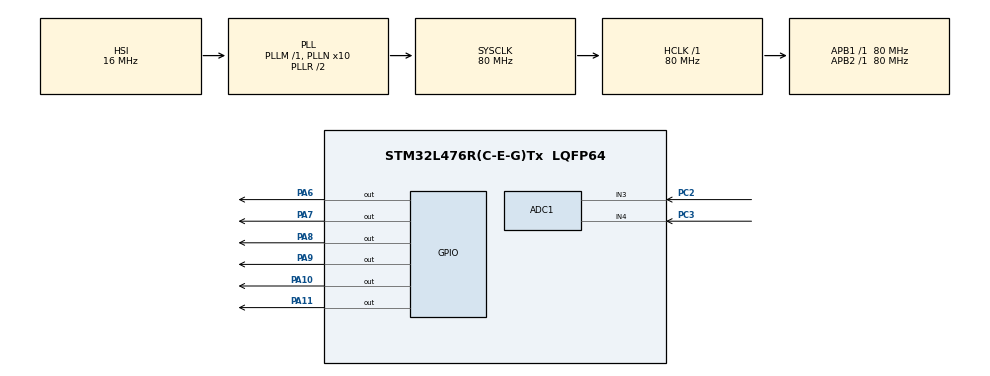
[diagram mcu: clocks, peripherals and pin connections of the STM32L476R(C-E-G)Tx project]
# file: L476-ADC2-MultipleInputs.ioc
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ADC1.Channel-0\#ChannelRegularConversion=ADC_CHANNEL_3
ADC1.Channel-1\#ChannelRegularConversion=ADC_CHANNEL_4
ADC1.ContinuousConvMode=ENABLE
ADC1.EOCSelection=ADC_EOC_SEQ_CONV
ADC1.NbrOfConversion=2
ADC1.NbrOfConversionFlag=1
ADC1.OffsetNumber-0\#ChannelRegularConversion=ADC_OFFSET_NONE
ADC1.OffsetNumber-1\#ChannelRegularConversion=ADC_OFFSET_NONE
ADC1.Overrun=ADC_OVR_DATA_OVERWRITTEN
ADC1.Rank-0\#ChannelRegularConversion=1
ADC1.Rank-1\#ChannelRegularConversion=2
ADC1.SamplingTime-0\#ChannelRegularConversion=ADC_SAMPLETIME_12CYCLES_5
ADC1.SamplingTime-1\#ChannelRegularConversion=ADC_SAMPLETIME_12CYCLES_5
ADC1.master=1
Mcu.Family=STM32L4
Mcu.Name=STM32L476R(C-E-G)Tx
Mcu.Package=LQFP64
NVIC.PriorityGroup=NVIC_PRIORITYGROUP_4
PA10.Signal=GPIO_Output
PA11.Signal=GPIO_Output
PA14\ (JTCK-SWCLK).GPIO_Label=TCK
PA14\ (JTCK-SWCLK).Signal=SYS_JTCK-SWCLK
PA6.Signal=GPIO_Output
PA7.Signal=GPIO_Output
PA8.Signal=GPIO_Output
PA9.Signal=GPIO_Output
PB3\ (JTDO-TRACESWO).GPIO_Label=SWO
PB3\ (JTDO-TRACESWO).Signal=SYS_JTDO-SWO
PC2.Signal=ADCx_IN3
PC3.Signal=ADCx_IN4
ProjectManager.HeapSize=0x200
ProjectManager.StackSize=0x400
ProjectManager.TargetToolchain=STM32CubeIDE
RCC.ADCFreq_Value=32000000
RCC.AHBFreq_Value=80000000
RCC.APB1Freq_Value=80000000
RCC.APB1TimFreq_Value=80000000
RCC.APB2Freq_Value=80000000
RCC.APB2TimFreq_Value=80000000
RCC.CortexFreq_Value=80000000
RCC.HCLKFreq_Value=80000000
RCC.HSE_VALUE=8000000
RCC.HSI_VALUE=16000000
RCC.LSE_VALUE=32768
RCC.MSI_VALUE=4000000
RCC.PLLN=10
RCC.PLLSAI1R=RCC_PLLR_DIV4
RCC.PLLSourceVirtual=RCC_PLLSOURCE_HSI
RCC.PREFETCH_ENABLE=1
RCC.SYSCLKFreq_VALUE=80000000
RCC.SYSCLKSource=RCC_SYSCLKSOURCE_PLLCLK
RCC.USBFreq_Value=64000000
RCC.VCOOutputFreq_Value=160000000
SH.ADCx_IN3.0=ADC1_IN3,IN3-Single-Ended
SH.ADCx_IN4.0=ADC1_IN4,IN4-Single-Ended
board=NUCLEO-L476RG

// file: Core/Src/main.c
/* USER CODE BEGIN Header */
/**
  ******************************************************************************
  * @file           : main.c
  * @brief          : Main program body
  ******************************************************************************
  * @attention
  *
  * Copyright (c) 2026 STMicroelectronics.
  * All rights reserved.
  *
  * This software is licensed under terms that can be found in the LICENSE file
  * in the root directory of this software component.
  * If no LICENSE file comes with this software, it is provided AS-IS.
  *
  ******************************************************************************
  */
/* USER CODE END Header */
#include "main.h"

/* USER CODE BEGIN Includes */
#include "lcd.h"
#include "stdio.h"
uint32_t adcResult1, adcResult2;
/* USER CODE END Includes */

ADC_HandleTypeDef hadc1;

void SystemClock_Config(void);
static void MX_GPIO_Init(void);
static void MX_ADC1_Init(void);

int main(void)
{

  /* MCU Configuration--------------------------------------------------------*/

  /* Reset of all peripherals, Initializes the Flash interface and the Systick. */
  HAL_Init();

  /* Configure the system clock */
  SystemClock_Config();

  /* Initialize all configured peripherals */
  MX_GPIO_Init();
  MX_ADC1_Init();

  /* Infinite loop */
  /* USER CODE BEGIN WHILE */
  float mv1, mv2;
  char buff[16];
  lcd_Init();
  while (1)
  {
	  HAL_ADC_Start(&hadc1);
	  HAL_ADC_PollForConversion(&hadc1, 100);
	  adcResult1=HAL_ADC_GetValue(&hadc1);

	  mv1=((float)adcResult1)*3300.0/4095.0;
	  lcd_Clear();
	  lcd_Goto(0,0);
//	  int mv1_int = (int)(mv1* 100);
//	  sprintf(buff, "%d.%02d", mv1_int/100, mv1_int%100);
	  sprintf(buff, "%7.2f", mv1);
	  lcd_Puts(buff);

	  HAL_ADC_PollForConversion(&hadc1, 100);
	  adcResult2=HAL_ADC_GetValue(&hadc1);
	  HAL_ADC_Stop(&hadc1);

	  mv2=((float)adcResult2)*3300.0/4095.0;
	  lcd_Goto(0,1);
//	  int mv2_int = (int)(mv2* 100);
//	  sprintf(buff, "%d.%02d", mv2_int/100, mv2_int%100);
	  sprintf(buff, "%7.2f", mv2);
	  lcd_Puts(buff);
//	  lcd_Puts("hello world");
	  HAL_Delay(1000);
    /* USER CODE END WHILE */

  }
}

void SystemClock_Config(void)
{
  RCC_OscInitTypeDef RCC_OscInitStruct = {0};
  RCC_ClkInitTypeDef RCC_ClkInitStruct = {0};

  /** Configure the main internal regulator output voltage
  */
  if (HAL_PWREx_ControlVoltageScaling(PWR_REGULATOR_VOLTAGE_SCALE1) != HAL_OK)
  {
    Error_Handler();
  }

  /** Initializes the RCC Oscillators according to the specified parameters
  * in the RCC_OscInitTypeDef structure.
  */
  RCC_OscInitStruct.OscillatorType = RCC_OSCILLATORTYPE_HSI;
  RCC_OscInitStruct.HSIState = RCC_HSI_ON;
  RCC_OscInitStruct.HSICalibrationValue = RCC_HSICALIBRATION_DEFAULT;
  RCC_OscInitStruct.PLL.PLLState = RCC_PLL_ON;
  RCC_OscInitStruct.PLL.PLLSource = RCC_PLLSOURCE_HSI;
  RCC_OscInitStruct.PLL.PLLM = 1;
  RCC_OscInitStruct.PLL.PLLN = 10;
  RCC_OscInitStruct.PLL.PLLP = RCC_PLLP_DIV7;
  RCC_OscInitStruct.PLL.PLLQ = RCC_PLLQ_DIV2;
  RCC_OscInitStruct.PLL.PLLR = RCC_PLLR_DIV2;
  if (HAL_RCC_OscConfig(&RCC_OscInitStruct) != HAL_OK)
  {
    Error_Handler();
  }

  /** Initializes the CPU, AHB and APB buses clocks
  */
  RCC_ClkInitStruct.ClockType = RCC_CLOCKTYPE_HCLK|RCC_CLOCKTYPE_SYSCLK
                              |RCC_CLOCKTYPE_PCLK1|RCC_CLOCKTYPE_PCLK2;
  RCC_ClkInitStruct.SYSCLKSource = RCC_SYSCLKSOURCE_PLLCLK;
  RCC_ClkInitStruct.AHBCLKDivider = RCC_SYSCLK_DIV1;
  RCC_ClkInitStruct.APB1CLKDivider = RCC_HCLK_DIV1;
  RCC_ClkInitStruct.APB2CLKDivider = RCC_HCLK_DIV1;

  if (HAL_RCC_ClockConfig(&RCC_ClkInitStruct, FLASH_LATENCY_4) != HAL_OK)
  {
    Error_Handler();
  }
}

static void MX_ADC1_Init(void)
{

  ADC_MultiModeTypeDef multimode = {0};
  ADC_ChannelConfTypeDef sConfig = {0};

  /** Common config
  */
  hadc1.Instance = ADC1;
  hadc1.Init.ClockPrescaler = ADC_CLOCK_ASYNC_DIV1;
  hadc1.Init.Resolution = ADC_RESOLUTION_12B;
  hadc1.Init.DataAlign = ADC_DATAALIGN_RIGHT;
  hadc1.Init.ScanConvMode = ADC_SCAN_ENABLE;
  hadc1.Init.EOCSelection = ADC_EOC_SEQ_CONV;
  hadc1.Init.LowPowerAutoWait = DISABLE;
  hadc1.Init.ContinuousConvMode = ENABLE;
  hadc1.Init.NbrOfConversion = 2;
  hadc1.Init.DiscontinuousConvMode = DISABLE;
  hadc1.Init.ExternalTrigConv = ADC_SOFTWARE_START;
  hadc1.Init.ExternalTrigConvEdge = ADC_EXTERNALTRIGCONVEDGE_NONE;
  hadc1.Init.DMAContinuousRequests = DISABLE;
  hadc1.Init.Overrun = ADC_OVR_DATA_OVERWRITTEN;
  hadc1.Init.OversamplingMode = DISABLE;
  if (HAL_ADC_Init(&hadc1) != HAL_OK)
  {
    Error_Handler();
  }

  /** Configure the ADC multi-mode
  */
  multimode.Mode = ADC_MODE_INDEPENDENT;
  if (HAL_ADCEx_MultiModeConfigChannel(&hadc1, &multimode) != HAL_OK)
  {
    Error_Handler();
  }

  /** Configure Regular Channel
  */
  sConfig.Channel = ADC_CHANNEL_3;
  sConfig.Rank = ADC_REGULAR_RANK_1;
  sConfig.SamplingTime = ADC_SAMPLETIME_12CYCLES_5;
  sConfig.SingleDiff = ADC_SINGLE_ENDED;
  sConfig.OffsetNumber = ADC_OFFSET_NONE;
  sConfig.Offset = 0;
  if (HAL_ADC_ConfigChannel(&hadc1, &sConfig) != HAL_OK)
  {
    Error_Handler();
  }

  /** Configure Regular Channel
  */
  sConfig.Channel = ADC_CHANNEL_4;
  sConfig.Rank = ADC_REGULAR_RANK_2;
  if (HAL_ADC_ConfigChannel(&hadc1, &sConfig) != HAL_OK)
  {
    Error_Handler();
  }

}

static void MX_GPIO_Init(void)
{
  GPIO_InitTypeDef GPIO_InitStruct = {0};

  /* GPIO Ports Clock Enable */
  __HAL_RCC_GPIOC_CLK_ENABLE();
  __HAL_RCC_GPIOA_CLK_ENABLE();
  __HAL_RCC_GPIOB_CLK_ENABLE();

  /*Configure GPIO pin Output Level */
  HAL_GPIO_WritePin(GPIOA, GPIO_PIN_6|GPIO_PIN_7|GPIO_PIN_8|GPIO_PIN_9
                          |GPIO_PIN_10|GPIO_PIN_11, GPIO_PIN_RESET);

  /*Configure GPIO pins : PA6 PA7 PA8 PA9
                           PA10 PA11 */
  GPIO_InitStruct.Pin = GPIO_PIN_6|GPIO_PIN_7|GPIO_PIN_8|GPIO_PIN_9
                          |GPIO_PIN_10|GPIO_PIN_11;
  GPIO_InitStruct.Mode = GPIO_MODE_OUTPUT_PP;
  GPIO_InitStruct.Pull = GPIO_NOPULL;
  GPIO_InitStruct.Speed = GPIO_SPEED_FREQ_LOW;
  HAL_GPIO_Init(GPIOA, &GPIO_InitStruct);

}

void Error_Handler(void)
{
  __disable_irq();
  while (1)
  {
  }
}
